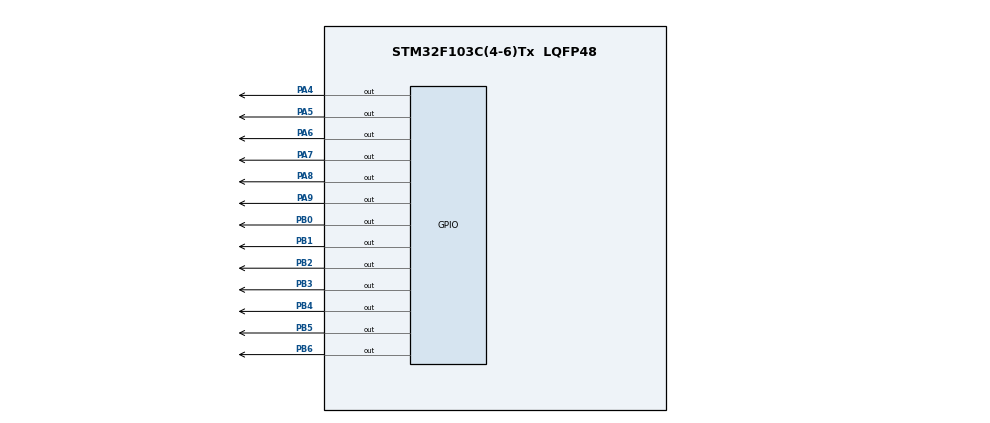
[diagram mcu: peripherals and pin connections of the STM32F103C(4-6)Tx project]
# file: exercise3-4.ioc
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Mcu.Family=STM32F1
Mcu.Name=STM32F103C(4-6)Tx
Mcu.Package=LQFP48
NVIC.PriorityGroup=NVIC_PRIORITYGROUP_4
NVIC.TIM2_IRQn=true\:0\:0\:false\:false\:true\:true\:true\:true
PA4.Signal=GPIO_Output
PA5.Signal=GPIO_Output
PA6.Signal=GPIO_Output
PA7.Signal=GPIO_Output
PA8.Signal=GPIO_Output
PA9.Signal=GPIO_Output
PB0.Signal=GPIO_Output
PB1.Signal=GPIO_Output
PB2.Signal=GPIO_Output
PB3.Signal=GPIO_Output
PB4.Signal=GPIO_Output
PB5.Signal=GPIO_Output
PB6.Signal=GPIO_Output
ProjectManager.HeapSize=0x200
ProjectManager.StackSize=0x400
ProjectManager.TargetToolchain=STM32CubeIDE
RCC.APB1Freq_Value=8000000
RCC.APB2Freq_Value=8000000
TIM2.Period=9
TIM2.Prescaler=7999
VP_TIM2_VS_ClockSourceINT.Mode=Internal
board=custom

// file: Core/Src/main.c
/* USER CODE BEGIN Header */
/**
 ******************************************************************************
 * @file           : main.c
 * @brief          : Main program body
 ******************************************************************************
 * @attention
 *
 * Copyright (c) 2022 STMicroelectronics.
 * All rights reserved.
 *
 * This software is licensed under terms that can be found in the LICENSE file
 * in the root directory of this software component.
 * If no LICENSE file comes with this software, it is provided AS-IS.
 *
 ******************************************************************************
 */
/* USER CODE END Header */
#include "main.h"

/* USER CODE BEGIN Includes */
#include"software_timer.h"
/* USER CODE END Includes */

TIM_HandleTypeDef htim2;

void SystemClock_Config(void);
static void MX_GPIO_Init(void);
static void MX_TIM2_Init(void);

int main(void) {

	/* MCU Configuration--------------------------------------------------------*/

	/* Reset of all peripherals, Initializes the Flash interface and the Systick. */
	HAL_Init();

	/* Configure the system clock */
	SystemClock_Config();

	/* Initialize all configured peripherals */
	MX_GPIO_Init();
	MX_TIM2_Init();
	/* USER CODE BEGIN 2 */
	HAL_TIM_Base_Start_IT(&htim2);
	void display7SEG(int num) {
		switch (num) {
		case 0:
			HAL_GPIO_WritePin(GPIOB, GPIO_PIN_0, 0);
			HAL_GPIO_WritePin(GPIOB, GPIO_PIN_1, 0);
			HAL_GPIO_WritePin(GPIOB, GPIO_PIN_2, 0);
			HAL_GPIO_WritePin(GPIOB, GPIO_PIN_3, 0);
			HAL_GPIO_WritePin(GPIOB, GPIO_PIN_4, 0);
			HAL_GPIO_WritePin(GPIOB, GPIO_PIN_5, 0);
			HAL_GPIO_WritePin(GPIOB, GPIO_PIN_6, 1);
			break;
		case 1:
			HAL_GPIO_WritePin(GPIOB, GPIO_PIN_0, 1);
			HAL_GPIO_WritePin(GPIOB, GPIO_PIN_1, 0);
			HAL_GPIO_WritePin(GPIOB, GPIO_PIN_2, 0);
			HAL_GPIO_WritePin(GPIOB, GPIO_PIN_3, 1);
			HAL_GPIO_WritePin(GPIOB, GPIO_PIN_4, 1);
			HAL_GPIO_WritePin(GPIOB, GPIO_PIN_5, 1);
			HAL_GPIO_WritePin(GPIOB, GPIO_PIN_6, 1);
			break;
		case 2:
			HAL_GPIO_WritePin(GPIOB, GPIO_PIN_0, 0);
			HAL_GPIO_WritePin(GPIOB, GPIO_PIN_1, 0);
			HAL_GPIO_WritePin(GPIOB, GPIO_PIN_2, 1);
			HAL_GPIO_WritePin(GPIOB, GPIO_PIN_3, 0);
			HAL_GPIO_WritePin(GPIOB, GPIO_PIN_4, 0);
			HAL_GPIO_WritePin(GPIOB, GPIO_PIN_5, 1);
			HAL_GPIO_WritePin(GPIOB, GPIO_PIN_6, 0);
			break;
		case 3:
			HAL_GPIO_WritePin(GPIOB, GPIO_PIN_0, 0);
			HAL_GPIO_WritePin(GPIOB, GPIO_PIN_1, 0);
			HAL_GPIO_WritePin(GPIOB, GPIO_PIN_2, 0);
			HAL_GPIO_WritePin(GPIOB, GPIO_PIN_3, 0);
			HAL_GPIO_WritePin(GPIOB, GPIO_PIN_4, 1);
			HAL_GPIO_WritePin(GPIOB, GPIO_PIN_5, 1);
			HAL_GPIO_WritePin(GPIOB, GPIO_PIN_6, 0);
			break;
		case 4:
			HAL_GPIO_WritePin(GPIOB, GPIO_PIN_0, 1);
			HAL_GPIO_WritePin(GPIOB, GPIO_PIN_1, 0);
			HAL_GPIO_WritePin(GPIOB, GPIO_PIN_2, 0);
			HAL_GPIO_WritePin(GPIOB, GPIO_PIN_3, 1);
			HAL_GPIO_WritePin(GPIOB, GPIO_PIN_4, 1);
			HAL_GPIO_WritePin(GPIOB, GPIO_PIN_5, 0);
			HAL_GPIO_WritePin(GPIOB, GPIO_PIN_6, 0);
			break;
		case 5:
			HAL_GPIO_WritePin(GPIOB, GPIO_PIN_0, 0);
			HAL_GPIO_WritePin(GPIOB, GPIO_PIN_1, 1);
			HAL_GPIO_WritePin(GPIOB, GPIO_PIN_2, 0);
			HAL_GPIO_WritePin(GPIOB, GPIO_PIN_3, 0);
			HAL_GPIO_WritePin(GPIOB, GPIO_PIN_4, 1);
			HAL_GPIO_WritePin(GPIOB, GPIO_PIN_5, 0);
			HAL_GPIO_WritePin(GPIOB, GPIO_PIN_6, 0);
			break;
		case 6:
			HAL_GPIO_WritePin(GPIOB, GPIO_PIN_0, 0);
			HAL_GPIO_WritePin(GPIOB, GPIO_PIN_1, 1);
			HAL_GPIO_WritePin(GPIOB, GPIO_PIN_2, 0);
			HAL_GPIO_WritePin(GPIOB, GPIO_PIN_3, 0);
			HAL_GPIO_WritePin(GPIOB, GPIO_PIN_4, 0);
			HAL_GPIO_WritePin(GPIOB, GPIO_PIN_5, 0);
			HAL_GPIO_WritePin(GPIOB, GPIO_PIN_6, 0);
			break;
		case 7:
			HAL_GPIO_WritePin(GPIOB, GPIO_PIN_0, 0);
			HAL_GPIO_WritePin(GPIOB, GPIO_PIN_1, 0);
			HAL_GPIO_WritePin(GPIOB, GPIO_PIN_2, 0);
			HAL_GPIO_WritePin(GPIOB, GPIO_PIN_3, 1);
			HAL_GPIO_WritePin(GPIOB, GPIO_PIN_4, 1);
			HAL_GPIO_WritePin(GPIOB, GPIO_PIN_5, 1);
			HAL_GPIO_WritePin(GPIOB, GPIO_PIN_6, 1);
			break;
		case 8:
			HAL_GPIO_WritePin(GPIOB, GPIO_PIN_0, 0);
			HAL_GPIO_WritePin(GPIOB, GPIO_PIN_1, 0);
			HAL_GPIO_WritePin(GPIOB, GPIO_PIN_2, 0);
			HAL_GPIO_WritePin(GPIOB, GPIO_PIN_3, 0);
			HAL_GPIO_WritePin(GPIOB, GPIO_PIN_4, 0);
			HAL_GPIO_WritePin(GPIOB, GPIO_PIN_5, 0);
			HAL_GPIO_WritePin(GPIOB, GPIO_PIN_6, 0);
			break;
		case 9:
			HAL_GPIO_WritePin(GPIOB, GPIO_PIN_0, 0);
			HAL_GPIO_WritePin(GPIOB, GPIO_PIN_1, 0);
			HAL_GPIO_WritePin(GPIOB, GPIO_PIN_2, 0);
			HAL_GPIO_WritePin(GPIOB, GPIO_PIN_3, 0);
			HAL_GPIO_WritePin(GPIOB, GPIO_PIN_4, 1);
			HAL_GPIO_WritePin(GPIOB, GPIO_PIN_5, 0);
			HAL_GPIO_WritePin(GPIOB, GPIO_PIN_6, 0);
			break;
		default:
			HAL_GPIO_WritePin(GPIOB, GPIO_PIN_6, 1);
			HAL_GPIO_WritePin(GPIOB, GPIO_PIN_5, 1);
			HAL_GPIO_WritePin(GPIOB, GPIO_PIN_4, 1);
			HAL_GPIO_WritePin(GPIOB, GPIO_PIN_3, 1);
			HAL_GPIO_WritePin(GPIOB, GPIO_PIN_2, 1);
			HAL_GPIO_WritePin(GPIOB, GPIO_PIN_1, 1);
			HAL_GPIO_WritePin(GPIOB, GPIO_PIN_0, 1);
			break;
		}
	}
	const int MAX_LED = 4;
	int index_led = 4;
	int led_buffer[4] = { 1, 2, 3, 4 };
	void update7SEG(int index) {
		switch (index) {
		case 0:
			HAL_GPIO_WritePin(GPIOA, GPIO_PIN_6, 0);
			HAL_GPIO_WritePin(GPIOA, GPIO_PIN_7, 1);
			HAL_GPIO_WritePin(GPIOA, GPIO_PIN_8, 1);
			HAL_GPIO_WritePin(GPIOA, GPIO_PIN_9, 1);
			display7SEG(led_buffer[0]);
			break;
		case 1:
			HAL_GPIO_WritePin(GPIOA, GPIO_PIN_6, 1);
			HAL_GPIO_WritePin(GPIOA, GPIO_PIN_7, 0);
			HAL_GPIO_WritePin(GPIOA, GPIO_PIN_8, 1);
			HAL_GPIO_WritePin(GPIOA, GPIO_PIN_9, 1);
			display7SEG(led_buffer[1]);
			break;
		case 2:
			HAL_GPIO_WritePin(GPIOA, GPIO_PIN_6, 1);
			HAL_GPIO_WritePin(GPIOA, GPIO_PIN_7, 1);
			HAL_GPIO_WritePin(GPIOA, GPIO_PIN_8, 0);
			HAL_GPIO_WritePin(GPIOA, GPIO_PIN_9, 1);
			display7SEG(led_buffer[2]);
			break;
		case 3:
			HAL_GPIO_WritePin(GPIOA, GPIO_PIN_6, 1);
			HAL_GPIO_WritePin(GPIOA, GPIO_PIN_7, 1);
			HAL_GPIO_WritePin(GPIOA, GPIO_PIN_8, 1);
			HAL_GPIO_WritePin(GPIOA, GPIO_PIN_9, 0);
			display7SEG(led_buffer[3]);
			break;
		default:
			HAL_GPIO_WritePin(GPIOA, GPIO_PIN_6, 1);
			HAL_GPIO_WritePin(GPIOA, GPIO_PIN_7, 1);
			HAL_GPIO_WritePin(GPIOA, GPIO_PIN_8, 1);
			HAL_GPIO_WritePin(GPIOA, GPIO_PIN_9, 1);
			break;
		}
	}
	int hour = 15, minute = 10, second = 50;
	void updateClockBuffer() {
		led_buffer[0] = hour / 10;
		led_buffer[1] = hour % 10;
		led_buffer[2] = minute / 10;
		led_buffer[3] = minute % 10;
	}
	/* USER CODE END 2 */

	/* Infinite loop */
	/* USER CODE BEGIN WHILE */
	setTimer1(100);
	setTimer3(101);
	setTimer2(47);
	setTimer4(97);
	HAL_GPIO_WritePin(GPIOA, GPIO_PIN_6, 1);
	HAL_GPIO_WritePin(GPIOA, GPIO_PIN_7, 1);
	HAL_GPIO_WritePin(GPIOA, GPIO_PIN_5, 1);
	HAL_GPIO_WritePin(GPIOA, GPIO_PIN_8, 1);
	HAL_GPIO_WritePin(GPIOA, GPIO_PIN_9, 1);
	HAL_GPIO_WritePin(GPIOA, GPIO_PIN_4, 1);
	while (1) {
		/* USER CODE END WHILE */
		if (timer1_flag) {
			setTimer1(100);
			switch (index_led % 4) {
			case 0:
				update7SEG(0);
				index_led++;
				break;
			case 1:
				update7SEG(1);
				index_led++;
				break;
			case 2:
				update7SEG(2);
				index_led++;
				break;
			case 3:
				update7SEG(3);
				index_led++;
				break;
			default:
				index_led++;
				break;
			}
		}
		if (timer3_flag) {
			setTimer3(100);
			HAL_GPIO_TogglePin(GPIOA, GPIO_PIN_4);
			HAL_GPIO_TogglePin(GPIOA, GPIO_PIN_5);
		}
		if (timer4_flag) {
			setTimer4(100);
			second++;
			if (second >= 60) {
				second = 0;
				minute++;
			}
			if (minute >= 60) {
				minute = 0;
				hour++;
			}
			if (hour >= 24) {
				hour = 0;
			}
			updateClockBuffer();
		}
	}
}

void SystemClock_Config(void) {
	RCC_OscInitTypeDef RCC_OscInitStruct = { 0 };
	RCC_ClkInitTypeDef RCC_ClkInitStruct = { 0 };

	/** Initializes the RCC Oscillators according to the specified parameters
	 * in the RCC_OscInitTypeDef structure.
	 */
	RCC_OscInitStruct.OscillatorType = RCC_OSCILLATORTYPE_HSI;
	RCC_OscInitStruct.HSIState = RCC_HSI_ON;
	RCC_OscInitStruct.HSICalibrationValue = RCC_HSICALIBRATION_DEFAULT;
	RCC_OscInitStruct.PLL.PLLState = RCC_PLL_NONE;
	if (HAL_RCC_OscConfig(&RCC_OscInitStruct) != HAL_OK) {
		Error_Handler();
	}

	/** Initializes the CPU, AHB and APB buses clocks
	 */
	RCC_ClkInitStruct.ClockType = RCC_CLOCKTYPE_HCLK | RCC_CLOCKTYPE_SYSCLK
			| RCC_CLOCKTYPE_PCLK1 | RCC_CLOCKTYPE_PCLK2;
	RCC_ClkInitStruct.SYSCLKSource = RCC_SYSCLKSOURCE_HSI;
	RCC_ClkInitStruct.AHBCLKDivider = RCC_SYSCLK_DIV1;
	RCC_ClkInitStruct.APB1CLKDivider = RCC_HCLK_DIV1;
	RCC_ClkInitStruct.APB2CLKDivider = RCC_HCLK_DIV1;

	if (HAL_RCC_ClockConfig(&RCC_ClkInitStruct, FLASH_LATENCY_0) != HAL_OK) {
		Error_Handler();
	}
}

static void MX_TIM2_Init(void) {

	TIM_ClockConfigTypeDef sClockSourceConfig = { 0 };
	TIM_MasterConfigTypeDef sMasterConfig = { 0 };

	htim2.Instance = TIM2;
	htim2.Init.Prescaler = 7999;
	htim2.Init.CounterMode = TIM_COUNTERMODE_UP;
	htim2.Init.Period = 9;
	htim2.Init.ClockDivision = TIM_CLOCKDIVISION_DIV1;
	htim2.Init.AutoReloadPreload = TIM_AUTORELOAD_PRELOAD_DISABLE;
	if (HAL_TIM_Base_Init(&htim2) != HAL_OK) {
		Error_Handler();
	}
	sClockSourceConfig.ClockSource = TIM_CLOCKSOURCE_INTERNAL;
	if (HAL_TIM_ConfigClockSource(&htim2, &sClockSourceConfig) != HAL_OK) {
		Error_Handler();
	}
	sMasterConfig.MasterOutputTrigger = TIM_TRGO_RESET;
	sMasterConfig.MasterSlaveMode = TIM_MASTERSLAVEMODE_DISABLE;
	if (HAL_TIMEx_MasterConfigSynchronization(&htim2, &sMasterConfig)
			!= HAL_OK) {
		Error_Handler();
	}

}

static void MX_GPIO_Init(void) {
	GPIO_InitTypeDef GPIO_InitStruct = { 0 };

	/* GPIO Ports Clock Enable */
	__HAL_RCC_GPIOA_CLK_ENABLE();
	__HAL_RCC_GPIOB_CLK_ENABLE();

	/*Configure GPIO pin Output Level */
	HAL_GPIO_WritePin(GPIOA,
	GPIO_PIN_4 | GPIO_PIN_5 | GPIO_PIN_6 | GPIO_PIN_7 | GPIO_PIN_8 | GPIO_PIN_9,
			GPIO_PIN_RESET);

	/*Configure GPIO pin Output Level */
	HAL_GPIO_WritePin(GPIOB,
			GPIO_PIN_0 | GPIO_PIN_1 | GPIO_PIN_2 | GPIO_PIN_3 | GPIO_PIN_4
					| GPIO_PIN_5 | GPIO_PIN_6, GPIO_PIN_RESET);

	/*Configure GPIO pins : PA4 PA5 PA6 PA7
	 PA8 PA9 */
	GPIO_InitStruct.Pin = GPIO_PIN_4 | GPIO_PIN_5 | GPIO_PIN_6 | GPIO_PIN_7
			| GPIO_PIN_8 | GPIO_PIN_9;
	GPIO_InitStruct.Mode = GPIO_MODE_OUTPUT_PP;
	GPIO_InitStruct.Pull = GPIO_NOPULL;
	GPIO_InitStruct.Speed = GPIO_SPEED_FREQ_LOW;
	HAL_GPIO_Init(GPIOA, &GPIO_InitStruct);

	/*Configure GPIO pins : PB0 PB1 PB2 PB3
	 PB4 PB5 PB6 */
	GPIO_InitStruct.Pin = GPIO_PIN_0 | GPIO_PIN_1 | GPIO_PIN_2 | GPIO_PIN_3
			| GPIO_PIN_4 | GPIO_PIN_5 | GPIO_PIN_6;
	GPIO_InitStruct.Mode = GPIO_MODE_OUTPUT_PP;
	GPIO_InitStruct.Pull = GPIO_NOPULL;
	GPIO_InitStruct.Speed = GPIO_SPEED_FREQ_LOW;
	HAL_GPIO_Init(GPIOB, &GPIO_InitStruct);

}

/* USER CODE BEGIN 4 */
void HAL_TIM_PeriodElapsedCallback(TIM_HandleTypeDef *htim) {
	timerRun();
}
/* USER CODE END 4 */

void Error_Handler(void) {
	__disable_irq();
	while (1) {
	}
}
